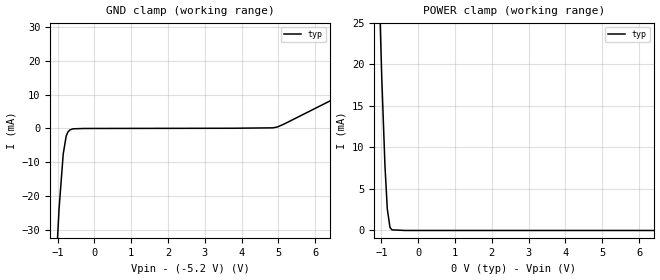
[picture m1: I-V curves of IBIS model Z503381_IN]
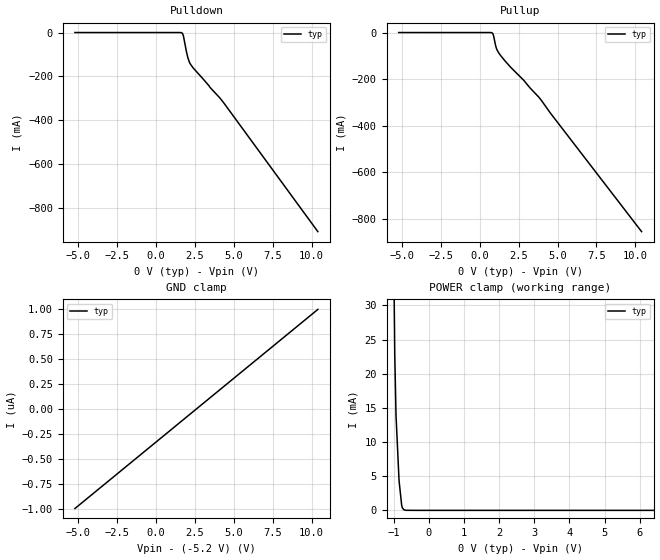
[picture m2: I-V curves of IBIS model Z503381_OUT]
| YOU ARE ONLY AUTHORIZED TO USE THIS SOFTWARE
| ACCORDING TO LICENSOR'S LICENSE RESTRICTIONS.
[IBIS Ver] 3.1
[File Name] mc100el07d_-52.ibs
[File Rev] 3.0
[Source] Measured and created by ICX Technology
[Date] 10/7/2003
[Copyright]
| (C) COPYRIGHT 1993-2000
| MENTOR GRAPHICS CORPORATION
| ICX STANDARD LIBRARY, ICX PROJECT MODELING,
| ICX CUSTOM MODELING, ICX VENDOR MODEL
| ALL RIGHTS RESERVED.
| THE FOLLOWING ARE TRADEMARKS OR SERVICE MARKS OF
| MENTOR GRAPHICS CORPORATION:ICX (R), ICX STANDARD
| LIBRARY(R), ICX PROJECT MODELING(R), ICX CUSTOM
| MODELING(R), qualityIBIS(TM), MODELVIEWER(TM),
| AND MODELEDITOR(TM)
| ALL COPIES OF SOFTWARE, INCLUDING BUT NOT LIMITED TO
| ANY MODIFICATIONS, ENHANCEMENTS OR DERIVATIVE WORKS,
| MUST CONTAIN ALL MENTOR GRAPHICS CORPORATION'S
| NOTICES AND LEGENDS, INCLUDING THOSE EMBEDDED IN
| SOFTWARE AND THOSE AFFIXED TO SOFTWARE MEDIUM
| AND CONTAINER, AS RECEIVED FROM MENTOR GRAPHICS
| CORPORATION.
|  ZAP Model Builder 2.7
[Component] MC100EL07D_-52
[Manufacturer] OnSemiconductor
[Package]
| variable   typ   min   max
R_pkg  .152ohms NA NA
L_pkg  2.714nH NA NA
C_pkg  .364pF NA NA
[Pin] signal_name  model_name  R_pin  L_pin C_pin
1 NC NC .154 2.924n .374p
2 D0 Z503381_IN .15 2.504n .354p
3 D1 Z503381_IN .15 2.504n .354p
4 NC NC .154 2.924n .374p
5 VEE POWER .154 2.924n .374p
6 _Q Z503381_OUT .15 2.504n .354p
7 Q Z503381_OUT .15 2.504n .354p
8 VCC POWER .154 2.924n .374p
| Models and submodels in the file (2): Z503381_IN (Input_ECL), Z503381_OUT (Output_ECL)
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| (C) COPYRIGHT 1993-2000
| MENTOR GRAPHICS CORPORATION
| ICX STANDARD LIBRARY, ICX PROJECT MODELING,
| ICX CUSTOM MODELING, ICX VENDOR MODEL
| ALL RIGHTS RESERVED.
| THE FOLLOWING ARE TRADEMARKS OR SERVICE MARKS OF
| MENTOR GRAPHICS CORPORATION:ICX (R), ICX STANDARD
| LIBRARY(R), ICX PROJECT MODELING(R), ICX CUSTOM
| MODELING(R), qualityIBIS(TM), MODELVIEWER(TM),
| AND MODELEDITOR(TM)
| ALL COPIES OF SOFTWARE, INCLUDING BUT NOT LIMITED TO
| ANY MODIFICATIONS, ENHANCEMENTS OR DERIVATIVE WORKS,
| MUST CONTAIN ALL MENTOR GRAPHICS CORPORATION'S
| NOTICES AND LEGENDS, INCLUDING THOSE EMBEDDED IN
| SOFTWARE AND THOSE AFFIXED TO SOFTWARE MEDIUM
| AND CONTAINER, AS RECEIVED FROM MENTOR GRAPHICS
| CORPORATION.
| Model Application Version 1.89 2/18/99.
[Model] Z503381_IN
Model_type Input_ECL
Vinl = -1.475V
Vinh = -1.165V
C_comp 2.000pF NA NA
| variable typ   min   max
[Voltage Range] -5.200V NA NA
[GND Clamp Reference] -5.200V NA NA
[POWER Clamp Reference] 0.000V NA NA
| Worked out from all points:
|   GND clamp passes 1 mA (typ) near -0.72 V on its own axis
|   POWER clamp passes 1 mA (typ) near -0.79 V on its own axis
[GND Clamp]
-5.2V     -913.9mA   NA         NA
-963mV    -24.13mA   NA         NA
-849mV    -7.63mA    NA         NA
-767mV    -2.208mA   NA         NA
-717mV    -1.001mA   NA         NA
-664mV    -446.1uA   NA         NA
-587mV    -127uA     NA         NA
3.755V    45.05uA    NA         NA
4.849V    166uA      NA         NA
4.969V    423.1uA    NA         NA
10.4V     30.11mA    NA         NA
[POWER Clamp]
-5.2V     1.495A     NA         NA
-1.172V   52.77mA    NA         NA
-1.089V   33.84mA    NA         NA
-990.7mV  18.51mA    NA         NA
-903.3mV  7.828mA    NA         NA
-839.3mV  2.585mA    NA         NA
-766.6mV  372.1uA    NA         NA
-713mV    74.55uA    NA         NA
-356.5mV  0A         NA         NA
10.4V     0A         NA         NA
| (C) COPYRIGHT 1993-2000
| MENTOR GRAPHICS CORPORATION
| ICX STANDARD LIBRARY, ICX PROJECT MODELING,
| ICX CUSTOM MODELING, ICX VENDOR MODEL
| ALL RIGHTS RESERVED.
| THE FOLLOWING ARE TRADEMARKS OR SERVICE MARKS OF
| MENTOR GRAPHICS CORPORATION:ICX (R), ICX STANDARD
| LIBRARY(R), ICX PROJECT MODELING(R), ICX CUSTOM
| MODELING(R), qualityIBIS(TM), MODELVIEWER(TM),
| AND MODELEDITOR(TM)
| ALL COPIES OF SOFTWARE, INCLUDING BUT NOT LIMITED TO
| ANY MODIFICATIONS, ENHANCEMENTS OR DERIVATIVE WORKS,
| MUST CONTAIN ALL MENTOR GRAPHICS CORPORATION'S
| NOTICES AND LEGENDS, INCLUDING THOSE EMBEDDED IN
| SOFTWARE AND THOSE AFFIXED TO SOFTWARE MEDIUM
| AND CONTAINER, AS RECEIVED FROM MENTOR GRAPHICS
| CORPORATION.
| Model Application Version 1.89 2/18/99.
[Model] Z503381_OUT
Model_type Output_ECL
Vref=-2.000V
Rref=50.00ohms
Cref=0.000F
Vmeas=-1.320V
C_comp 2.000pF NA NA
| variable typ   min   max
[Voltage Range] -5.200V NA NA
[POWER Clamp Reference] 0.000V NA NA
[Pullup Reference] 0.000V NA NA
[Pulldown Reference] 0.000V NA NA
[GND Clamp Reference] -5.200V NA NA
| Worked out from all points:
|   POWER clamp passes 1 mA (typ) near -0.77 V on its own axis
[GND Clamp]
-5.2V     -1uA       NA         NA
10.4V     1uA        NA         NA
[Pulldown]
-5.2V     123.7uA    NA         NA
1.681V    -1.975mA   NA         NA
1.768V    -15.26mA   NA         NA
1.951V    -83.87mA   NA         NA
2.055V    -114.9mA   NA         NA
2.153V    -135.3mA   NA         NA
2.222V    -144.3mA   NA         NA
2.402V    -161.9mA   NA         NA
4.367V    -321.1mA   NA         NA
10.4V     -906.4mA   NA         NA
[Pullup]
-5.2V     104.9uA    NA         NA
683.9mV   69.36uA    NA         NA
824.2mV   -2.716mA   NA         NA
890.8mV   -12.97mA   NA         NA
1.024V    -55.69mA   NA         NA
1.089V    -70.6mA    NA         NA
1.32V     -96.37mA   NA         NA
2.017V    -150.9mA   NA         NA
2.822V    -204.3mA   NA         NA
3.799V    -277.4mA   NA         NA
4.536V    -345.3mA   NA         NA
10.4V     -855.3mA   NA         NA
[POWER Clamp]
-5.2V     1.678A     NA         NA
-1.182V   130.8mA    NA         NA
-966mV    22.84mA    NA         NA
-930.4mV  13.96mA    NA         NA
-844.1mV  4.371mA    NA         NA
-769.1mV  734.7uA    NA         NA
-749.3mV  363.7uA    NA         NA
-707.7mV  91.5uA     NA         NA
-648.9mV  9.2uA      NA         NA
-324.4mV  0A         NA         NA
10.4V     0A         NA         NA
[Ramp]
| variable typ min max
dV/dt_r 480.9m/338.6p NA NA
dV/dt_f 480.9m/323.3p NA NA
R_load = 50.00Ohms
